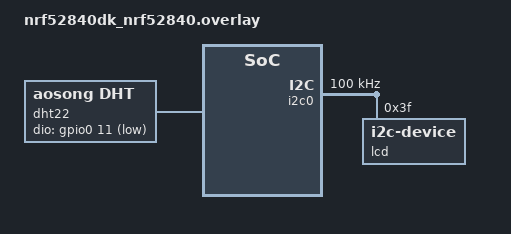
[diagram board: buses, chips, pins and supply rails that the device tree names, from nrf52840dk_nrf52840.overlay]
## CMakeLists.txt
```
cmake_minimum_required(VERSION 3.20.0)
# Zephyr 앱 보일러플레이트
include($ENV{ZEPHYR_BASE}/cmake/app/boilerplate.cmake NO_POLICY_SCOPE)
project(dht22_lcd)

# 소스 파일 등록
target_sources(app PRIVATE
    src/main.c
    src/dht_sensor.c
    src/LCD.c
)

# 헤더 검색 경로
target_include_directories(app PRIVATE include)
```

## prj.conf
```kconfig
CONFIG_GPIO=y
CONFIG_SENSOR=y
CONFIG_DHT=y

# I2C 설정 (LCD용)
CONFIG_I2C=y

# RTT Console 설정
CONFIG_USE_SEGGER_RTT=y
CONFIG_RTT_CONSOLE=y
CONFIG_UART_CONSOLE=n

# 로깅 설정
CONFIG_LOG=y
CONFIG_LOG_DEFAULT_LEVEL=3
CONFIG_LOG_BACKEND_RTT=y
CONFIG_LOG_BACKEND_UART=n
```

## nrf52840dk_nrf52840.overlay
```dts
/ {
    aliases {
        dht0 = &dht22;
    };

    dht22: dht22 {
        compatible = "aosong,dht";
        status = "okay";
        dio-gpios = <&gpio0 11 (GPIO_PULL_UP | GPIO_ACTIVE_LOW)>;
        dht22;
    };
};

&i2c0 {
    compatible = "nordic,nrf-twi";
    status = "okay";
    clock-frequency = <I2C_BITRATE_STANDARD>;
    pinctrl-0 = <&i2c0_default>;
    pinctrl-1 = <&i2c0_sleep>;
    pinctrl-names = "default", "sleep";
    
    lcd@3f {
        compatible = "i2c-device";
        reg = <0x3f>;
        status = "okay";
    };
};
```

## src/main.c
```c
/*
 * Copyright (c) 2023 DHT22 + LCD Temperature and Humidity Monitor
 *
 * SPDX-License-Identifier: Apache-2.0
 */

#include <zephyr/kernel.h>
#include <zephyr/logging/log.h>
#include <string.h>
#include "dht_sensor.h"
#include "LCD.h"

LOG_MODULE_REGISTER(main, LOG_LEVEL_INF);

/* Sensor reading interval in milliseconds */
#define SENSOR_READ_INTERVAL_MS 3000

int main(void)
{
    int ret;
    struct dht_data sensor_data;
    char title[] = "DHT22 Monitor";
    
    LOG_INF("DHT22 + LCD Temperature and Humidity Monitor");
    LOG_INF("===============================================");
    
    /* Initialize LCD */
    LOG_INF("Initializing LCD...");
    LCD_TWI_init();
    k_msleep(100);
    LCD_begin(16, 2, 0);  // 16x2 LCD
    
    /* Display title on first line */
    LCD_setCursor(0, 0);
    LCD_print((uint8_t*)title, strlen(title) + 1);
    
    /* Initialize DHT sensor */
    LOG_INF("Initializing DHT22 sensor...");
    ret = dht_sensor_init();
    if (ret) {
        LOG_ERR("Failed to initialize DHT sensor: %d", ret);
        LCD_setCursor(0, 1);
        LCD_print((uint8_t*)"Sensor Error!", 14);
        return ret;
    }
    
    LOG_INF("Starting sensor readings every %d ms", SENSOR_READ_INTERVAL_MS);
    LOG_INF("Sensor device: %s", dht_sensor_get_name());
    LOG_INF("===============================================");
    
    /* Initial display */
    LCD_setCursor(0, 1);
    LCD_print((uint8_t*)"Initializing...", 16);
    
    /* Main sensor reading loop */
    while (1) {
        /* Read sensor data */
        ret = dht_sensor_read(&sensor_data);
        if (ret) {
            LOG_ERR("Failed to read sensor data: %d", ret);
            LCD_setCursor(0, 1);
            LCD_print((uint8_t*)"Read Error!     ", 17);
        } else {
            /* Print sensor data to log */
            dht_sensor_print_data(&sensor_data);
            
            /* Display sensor data on LCD */
            LCD_print_sensor_data(sensor_data.temperature.val1, 
                                 sensor_data.temperature.val2,
                                 sensor_data.humidity.val1, 
                                 sensor_data.humidity.val2);
            
            LOG_INF("---");
        }
        
        /* Wait before next reading */
        k_msleep(SENSOR_READ_INTERVAL_MS);
    }
    
    return 0;
}
```

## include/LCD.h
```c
#ifndef LCD_H_
#define LCD_H_

#include <zephyr/kernel.h>
#include <zephyr/device.h>
#include <zephyr/devicetree.h>
#include <zephyr/drivers/i2c.h>
#include <stdint.h>
#include <stdio.h>

// commands
#define LCD_CLEARDISPLAY 0x01
#define LCD_RETURNHOME 0x02
#define LCD_ENTRYMODESET 0x04
#define LCD_DISPLAYCONTROL 0x08
#define LCD_CURSORSHIFT 0x10
#define LCD_FUNCTIONSET 0x20
#define LCD_SETCGRAMADDR 0x40
#define LCD_SETDDRAMADDR 0x80

// flags for display entry mode
#define LCD_ENTRYRIGHT 0x00
#define LCD_ENTRYLEFT 0x02
#define LCD_ENTRYSHIFTINCREMENT 0x01
#define LCD_ENTRYSHIFTDECREMENT 0x00

// flags for display on/off control
#define LCD_DISPLAYON 0x04
#define LCD_DISPLAYOFF 0x00
#define LCD_CURSORON 0x02
#define LCD_CURSOROFF 0x00
#define LCD_BLINKON 0x01
#define LCD_BLINKOFF 0x00

// flags for display/cursor shift
#define LCD_DISPLAYMOVE 0x08
#define LCD_CURSORMOVE 0x00
#define LCD_MOVERIGHT 0x04
#define LCD_MOVELEFT 0x00

// flags for function set
#define LCD_8BITMODE 0x10
#define LCD_4BITMODE 0x00
#define LCD_2LINE 0x08
#define LCD_1LINE 0x00
#define LCD_5x10DOTS 0x04
#define LCD_5x8DOTS 0x00

// flags for backlight control
#define LCD_BACKLIGHT 0x08
#define LCD_NOBACKLIGHT 0x00

#define En 0x04  // Enable bit
#define Rw 0x02  // Read/Write bit
#define Rs 0x01  // Register select bit

/**
 * @brief Initialize LCD with I2C
 */
void LCD_TWI_init(void);

/**
 * @brief Initialize LCD display
 * @param cols Number of columns
 * @param rows Number of rows  
 * @param charsize Character size
 */
void LCD_begin(uint8_t cols, uint8_t rows, uint8_t charsize);

/**
 * @brief Clear LCD display
 */
void LCD_clear(void);

/**
 * @brief Set cursor position
 * @param col Column position
 * @param row Row position
 */
void LCD_setCursor(uint8_t col, uint8_t row);

/**
 * @brief Print string to LCD
 * @param string String to print
 * @param size String size
 */
void LCD_print(uint8_t *string, int size);

/**
 * @brief Print formatted temperature and humidity
 * @param temp_val1 Temperature integer part
 * @param temp_val2 Temperature decimal part
 * @param hum_val1 Humidity integer part  
 * @param hum_val2 Humidity decimal part
 */
void LCD_print_sensor_data(int32_t temp_val1, int32_t temp_val2, 
                          int32_t hum_val1, int32_t hum_val2);

// Core LCD functions
void LCD_home(void);
void LCD_display(void);
void LCD_noDisplay(void);
void LCD_cursor(void);
void LCD_noCursor(void);
void LCD_blink(void);
void LCD_noBlink(void);
void LCD_scrollDisplayLeft(void);
void LCD_scrollDisplayRight(void);
void LCD_leftToRight(void);
void LCD_rightToLeft(void);
void LCD_autoscroll(void);
void LCD_noAutoscroll(void);
void LCD_backlight(void);
void LCD_noBacklight(void);
void LCD_createChar(uint8_t location, uint8_t charmap[]);

// Low-level functions
void LCD_command(uint8_t value);
void LCD_write(uint8_t value);
void LCD_send(uint8_t value, uint8_t mode);
void LCD_write4bits(uint8_t value);
void LCD_expanderWrite(uint8_t data);
void LCD_pulseEnable(uint8_t data);

#endif
```

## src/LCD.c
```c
#include "LCD.h"
#include <zephyr/logging/log.h>

LOG_MODULE_REGISTER(lcd, LOG_LEVEL_INF);

// I2C 디바이스 선언
#define I2C_NODE DT_NODELABEL(i2c0)
static const struct device *i2c_dev = DEVICE_DT_GET(I2C_NODE);

// LCD 주소 설정
static uint8_t _Addr = 0x3F;

uint8_t _displayfunction;
uint8_t _displaycontrol;
uint8_t _displaymode;
uint8_t _numlines;
uint8_t _cols;
uint8_t _rows;
uint8_t _backlightval = LCD_BACKLIGHT;  // 백라이트 ON 상태로 초기화

void LCD_TWI_init() {
    if (!device_is_ready(i2c_dev)) {
        LOG_ERR("I2C device not ready");
        return;
    }
    _displayfunction = LCD_4BITMODE | LCD_1LINE | LCD_5x8DOTS;
    LOG_INF("LCD I2C initialized");
}

void LCD_begin(uint8_t cols, uint8_t lines, uint8_t dotsize) {
    _cols = cols;
    _rows = lines;
    
    if (lines > 1) {
        _displayfunction |= LCD_2LINE;
    }
    _numlines = lines;

    if ((dotsize != 0) && (lines == 1)) {
        _displayfunction |= LCD_5x10DOTS;
    }

    k_msleep(50);

    LCD_backlight();  // 백라이트를 초기화 시 바로 켬
    LCD_expanderWrite(_backlightval);
    k_msleep(1000);

    LCD_write4bits(0x03 << 4);
    k_busy_wait(4500);

    LCD_write4bits(0x03 << 4);
    k_busy_wait(4500);

    LCD_write4bits(0x03 << 4);
    k_busy_wait(150);

    LCD_write4bits(0x02 << 4);

    LCD_command(LCD_FUNCTIONSET | _displayfunction);

    _displaycontrol = LCD_DISPLAYON | LCD_CURSOROFF | LCD_BLINKOFF;
    LCD_display();

    LCD_clear();

    _displaymode = LCD_ENTRYLEFT | LCD_ENTRYSHIFTDECREMENT;
    LCD_command(LCD_ENTRYMODESET | _displaymode);

    LCD_home();
    
    LOG_INF("LCD initialized: %dx%d", cols, lines);
}

void LCD_clear() {
    LCD_command(LCD_CLEARDISPLAY);
    k_busy_wait(2000);
}

void LCD_home() {
    LCD_command(LCD_RETURNHOME);
    k_busy_wait(2000);
}

void LCD_setCursor(uint8_t col, uint8_t row) {
    int row_offsets[] = { 0x00, 0x40, 0x14, 0x54 };
    if (row > (_numlines - 1)) {
        row = _numlines - 1;
    }
    LCD_command(LCD_SETDDRAMADDR | (col + row_offsets[row]));
}

void LCD_print(uint8_t *string, int size) {
    for (int i = 0; i < size - 1; i++) {
        LCD_write(string[i]);
    }
}

void LCD_print_sensor_data(int32_t temp_val1, int32_t temp_val2, 
                          int32_t hum_val1, int32_t hum_val2) {
    char buffer[17]; // 16 characters + null terminator
    
    // 두 번째 줄로 이동
    LCD_setCursor(0, 1);
    
    // 온습도 데이터 포맷: "T:23.4 H:65.2%"
    snprintf(buffer, sizeof(buffer), "T:%d.%dC H:%d.%d%%", 
             temp_val1, temp_val2/100000, hum_val1, hum_val2/100000);
    
    LCD_print((uint8_t*)buffer, strlen(buffer) + 1);
}

void LCD_noDisplay() {
    _displaycontrol &= ~LCD_DISPLAYON;
    LCD_command(LCD_DISPLAYCONTROL | _displaycontrol);
}

void LCD_display() {
    _displaycontrol |= LCD_DISPLAYON;
    LCD_command(LCD_DISPLAYCONTROL | _displaycontrol);
}

void LCD_noCursor() {
    _displaycontrol &= ~LCD_CURSORON;
    LCD_command(LCD_DISPLAYCONTROL | _displaycontrol);
}

void LCD_cursor() {
    _displaycontrol |= LCD_CURSORON;
    LCD_command(LCD_DISPLAYCONTROL | _displaycontrol);
}

void LCD_noBlink() {
    _displaycontrol &= ~LCD_BLINKON;
    LCD_command(LCD_DISPLAYCONTROL | _displaycontrol);
}

void LCD_blink() {
    _displaycontrol |= LCD_BLINKON;
    LCD_command(LCD_DISPLAYCONTROL | _displaycontrol);
}

void LCD_scrollDisplayLeft(void) {
    LCD_command(LCD_CURSORSHIFT | LCD_DISPLAYMOVE | LCD_MOVELEFT);
}

void LCD_scrollDisplayRight(void) {
    LCD_command(LCD_CURSORSHIFT | LCD_DISPLAYMOVE | LCD_MOVERIGHT);
}

void LCD_leftToRight(void) {
    _displaymode |= LCD_ENTRYLEFT;
    LCD_command(LCD_ENTRYMODESET | _displaymode);
}

void LCD_rightToLeft(void) {
    _displaymode &= ~LCD_ENTRYLEFT;
    LCD_command(LCD_ENTRYMODESET | _displaymode);
}

void LCD_autoscroll(void) {
    _displaymode |= LCD_ENTRYSHIFTINCREMENT;
    LCD_command(LCD_ENTRYMODESET | _displaymode);
}

void LCD_noAutoscroll(void) {
    _displaymode &= ~LCD_ENTRYSHIFTINCREMENT;
    LCD_command(LCD_ENTRYMODESET | _displaymode);
}

void LCD_createChar(uint8_t location, uint8_t charmap[]) {
    location &= 0x7;
    LCD_command(LCD_SETCGRAMADDR | (location << 3));
    for (int i = 0; i < 8; i++) {
        LCD_write(charmap[i]);
    }
}

void LCD_noBacklight(void) {
    _backlightval = LCD_NOBACKLIGHT;
    LCD_expanderWrite(0);
}

void LCD_backlight(void) {
    _backlightval = LCD_BACKLIGHT;
    LCD_expanderWrite(0);
}

inline void LCD_command(uint8_t value) {
    LCD_send(value, 0);
}

inline void LCD_write(uint8_t value) {
    LCD_send(value, Rs);
}

void LCD_send(uint8_t value, uint8_t mode) {
    uint8_t highnib = value & 0xf0;
    uint8_t lownib = (value << 4) & 0xf0;
    LCD_write4bits((highnib) | mode);
    LCD_write4bits((lownib) | mode);
}

void LCD_write4bits(uint8_t value) {
    LCD_expanderWrite(value);
    LCD_pulseEnable(value);
}

void LCD_expanderWrite(uint8_t _data) {
    _data |= _backlightval;
    uint8_t buf[1] = { _data };
    i2c_write(i2c_dev, buf, 1, _Addr);
    k_msleep(2);
}

void LCD_pulseEnable(uint8_t _data) {
    LCD_expanderWrite(_data | En);
    k_busy_wait(1);
    LCD_expanderWrite(_data & ~En);
    k_busy_wait(50);
}
```
